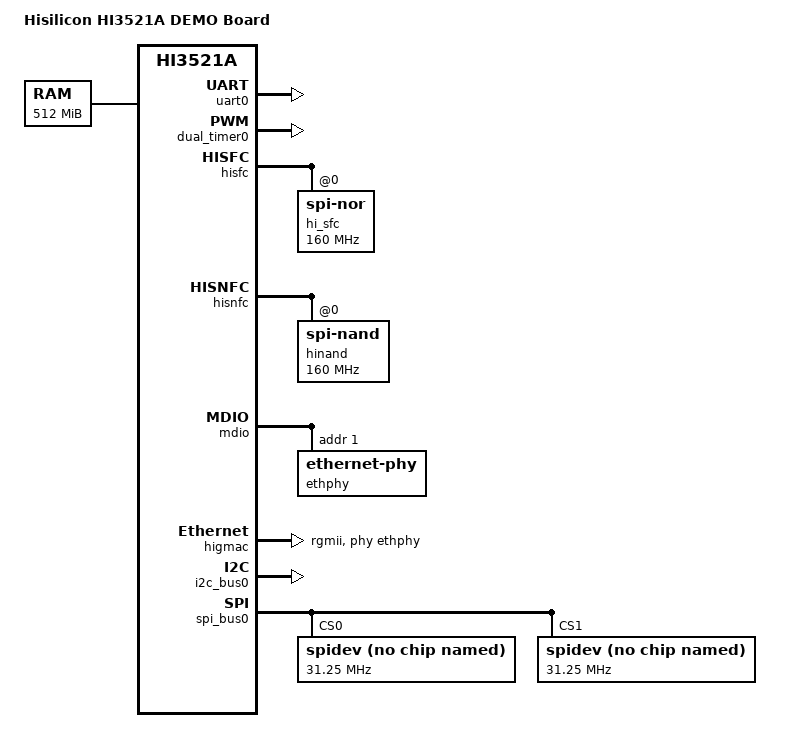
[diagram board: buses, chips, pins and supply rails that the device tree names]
/*
 * Copyright (c) 2013-2014 Linaro Ltd.
 * Copyright (c) 2015-2017 HiSilicon Technologies Co., Ltd.
 *
 * This program is free software; you can redistribute  it and/or modify it
 * under  the terms of  the GNU General  Public License as published by the
 * Free Software Foundation;  either version 2 of the  License, or (at your
 * option) any later version.
 *
 * This program is distributed in the hope that it will be useful,
 * but WITHOUT ANY WARRANTY; without even the implied warranty of
 * MERCHANTABILITY or FITNESS FOR A PARTICULAR PURPOSE. See the
 * GNU General Public License for more details.
 *
 * You should have received a copy of the GNU General Public License
 * along with this program.  If not, see <http://www.gnu.org/licenses/>.
 *
 */

/dts-v1/;
#include "hi3521a.dtsi"

/ {
	model = "Hisilicon HI3521A DEMO Board";
	compatible = "hisilicon,hi3521a";

	aliases {
		serial0 = &uart0;
		i2c0 = &i2c_bus0;
		spi0 = &spi_bus0;
	};

	memory {
		device_type = "memory";
		reg = <0x80000000 0x20000000>;
	};
};

&uart0 {
	status = "okay";
};

&dual_timer0 {
	status = "okay";
};

&hidmac {
	status = "okay";
};

&hisfc {
	hi_sfc {
		   compatible = "jedec,spi-nor";
		   reg = <0>;
		   spi-max-frequency = <160000000>;
		   m25p,fast-read;
	};
};

&hisnfc {
	hinand {
		   compatible = "jedec,spi-nand";
		   reg = <0>;
		   spi-max-frequency = <160000000>;
		   m25p,fast-read;
	};
};

&mdio {
	ethphy: ethernet-phy@1 {
		reg = <1>;
	};
};

&higmac {
	phy-handle = <&ethphy>;
	phy-mode = "rgmii";
};

&i2c_bus0 {
	status = "okay";
};

&spi_bus0{
	status = "okay";
	num-cs = <2>;

	spidev@0 {
		compatible = "rohm,dh2228fv";
		reg = <0>;
		pl022,interface = <0>;
		pl022,com-mode = <0>;
		spi-max-frequency = <31250000>;
	};

	spidev@1 {
		compatible = "rohm,dh2228fv";
		reg = <1>;
		pl022,interface = <0>;
		pl022,com-mode = <0>;
		spi-max-frequency = <31250000>;
	};
};
